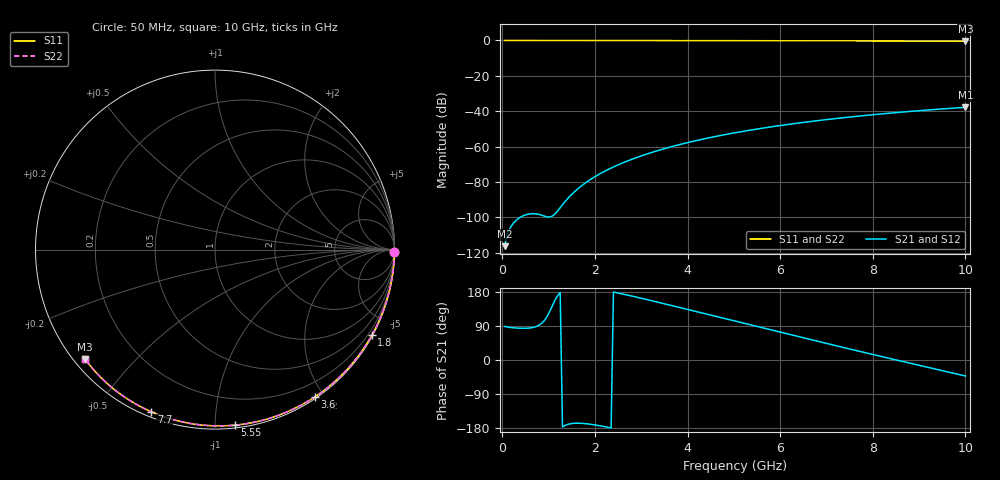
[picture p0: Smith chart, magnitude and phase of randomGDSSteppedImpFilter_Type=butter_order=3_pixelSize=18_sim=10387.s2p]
! freq	dB(S11)	phase(S11)	dB(S12)	phase(S12)
!  dB(S21)	phase(S21)	dB(S22)	phase(S22)
!S-par simulation data
#  GHz  S  DB  R 50
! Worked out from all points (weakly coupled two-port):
!   200 points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, 50 MHz to 10 GHz, reference 50 ohm
!   highest |S21| = -37.77 dB at 10 GHz (marker M1); lowest = -116.2 dB at 50 MHz (marker M2)
!   lowest |S11| = -0.5 dB at 10 GHz (marker M3), VSWR 36.59, Z = 1.55 - j18.3 ohm
!   |S11| at or under -10 dB: nowhere
!   |S22| runs from -0.5 to 0.0 dB; largest |S21 - S12| = 0
!   S11 on the Smith chart (normalised r, x): 50 MHz: open; 1.8 GHz: 0.03, -3.91; 3.6 GHz: 0.02, -1.88; 5.55 GHz: 0.02, -1.12; 7.7 GHz: 0.02, -0.68; 10 GHz: 0.03, -0.37
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0.05  -0.00 -0.8  -116.23 88.5  -116.23 88.5  -0.00 -0.8
0.45  -0.01 -7.3  -99.07 83.7  -99.07 83.7  -0.01 -7.3
0.9  -0.02 -14.5  -99.14 102.9  -99.14 102.9  -0.02 -14.5
1.75  -0.04 -27.9  -81.35 -167.4  -81.35 -167.4  -0.04 -27.9
1.8  -0.04 -28.7  -80.39 -168.0  -80.39 -168.0  -0.04 -28.7
1.85  -0.04 -29.4  -79.49 -168.7  -79.49 -168.7  -0.04 -29.4
2.05  -0.04 -32.6  -76.20 -172.3  -76.20 -172.3  -0.04 -32.6
2.2  -0.04 -34.9  -74.05 -175.6  -74.05 -175.6  -0.04 -34.9
2.55  -0.05 -40.2  -69.72 175.5  -69.72 175.5  -0.05 -40.2
2.95  -0.06 -46.3  -65.67 164.4  -65.67 164.4  -0.06 -46.3
3.4  -0.07 -53.0  -61.88 151.3  -61.88 151.3  -0.07 -53.0
3.6  -0.08 -56.0  -60.40 145.4  -60.40 145.4  -0.08 -56.0
3.9  -0.08 -60.4  -58.35 136.4  -58.35 136.4  -0.08 -60.4
4.3  -0.09 -66.1  -55.92 124.4  -55.92 124.4  -0.09 -66.1
5.05  -0.12 -76.7  -52.03 101.8  -52.03 101.8  -0.12 -76.7
5.55  -0.14 -83.5  -49.83 86.7  -49.83 86.7  -0.14 -83.5
6.1  -0.16 -90.9  -47.70 70.3  -47.70 70.3  -0.16 -90.9
6.7  -0.19 -98.7  -45.64 52.5  -45.64 52.5  -0.19 -98.7
7.7  -0.26 -111.5  -42.73 23.2  -42.73 23.2  -0.26 -111.5
8.35  -0.31 -119.6  -41.11 4.5  -41.11 4.5  -0.31 -119.6
9.2  -0.39 -130.1  -39.27 -19.6  -39.27 -19.6  -0.39 -130.1
10  -0.47 -139.8  -37.77 -42.1  -37.77 -42.1  -0.47 -139.9
